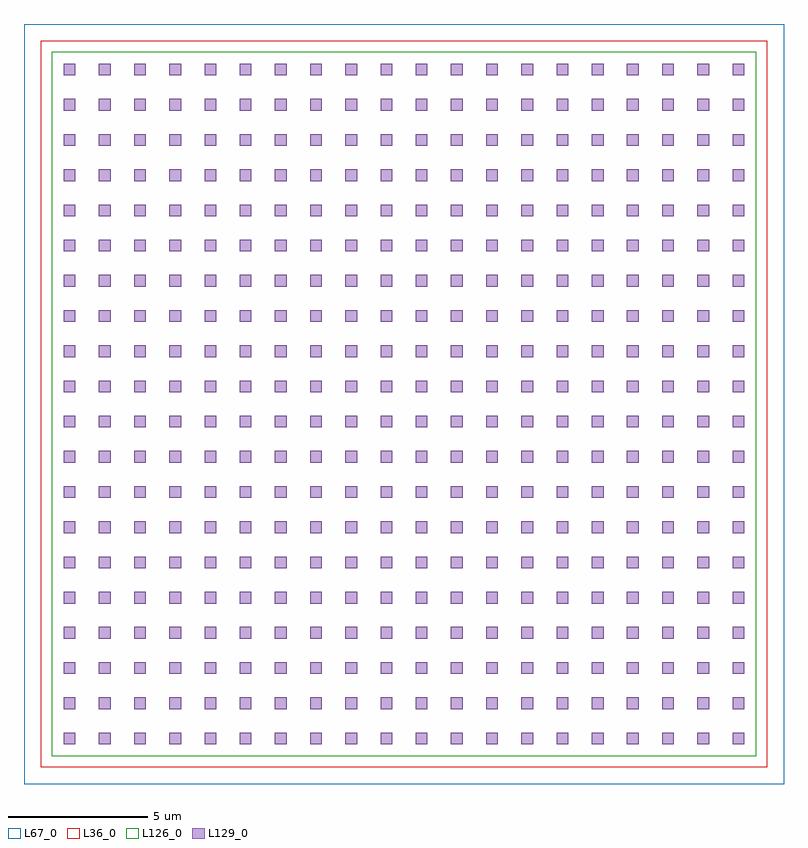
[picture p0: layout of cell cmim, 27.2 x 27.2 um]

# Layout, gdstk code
import gdstk
lib = gdstk.Library(unit=1e-6, precision=1e-09)
def R(c, l, rs):  # rectangles x0, y0, x1, y1
    for r in rs: c.add(gdstk.rectangle(r[:2], r[2:], *l))
def A(c, l, x, y, w, h, nx, ny, dx, dy):  # array of equal rectangles
    R(c, l, [(x+i*dx, y+j*dy, x+i*dx+w, y+j*dy+h) for i in range(nx) for j in range(ny)])
L36_0 = (36, 0)
L67_0 = (67, 0)
L126_0 = (126, 0)
L129_0 = (129, 0)

cmim = lib.new_cell('cmim')
R(cmim, L36_0, [(0,0,26,26)])
R(cmim, L67_0, [(-0.6,-0.6,26.6,26.6)])
R(cmim, L126_0, [(0.4,0.4,25.6,25.6)])
A(cmim, L129_0, 0.82, 0.82, 0.42, 0.42, 20, 20, 1.26, 1.26)

lib.write_gds('cmim.gds')
